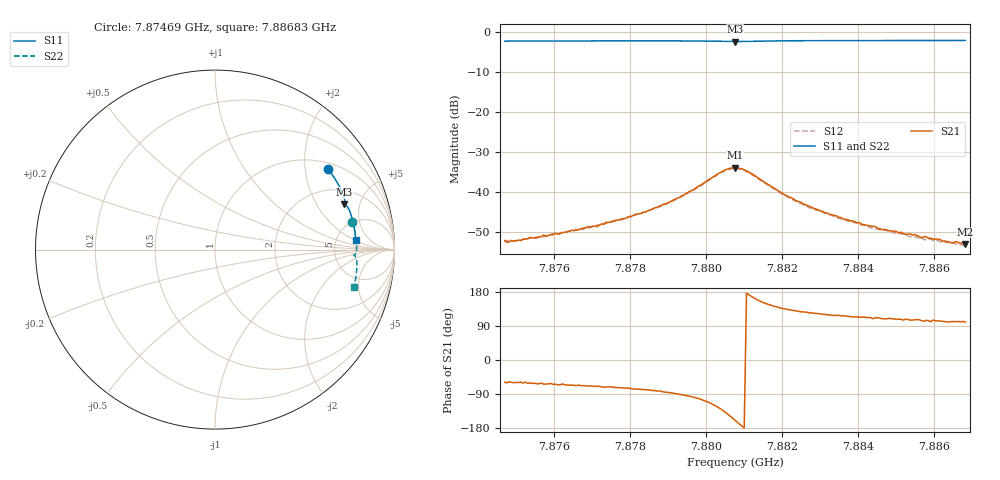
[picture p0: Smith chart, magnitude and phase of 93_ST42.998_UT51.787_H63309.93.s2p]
#  HZ  S  DB  R  50.00
! Rohde & Schwarz Vector Network Analyzer
! Rohde-Schwarz,ZNB20-2Port,1311601062101988,3.16
! Created: UTC 1/12/2023, 6:36:07 PM
! freq[Hz]  db:S11  ang:S11  db:S21  ang:S21  db:S12  ang:S12  db:S22  ang:S22
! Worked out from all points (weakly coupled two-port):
!   201 points, 7.87469 GHz to 7.88683 GHz, reference 50 ohm
!   highest |S21| = -34.00 dB at 7.88076 GHz (marker M1); lowest = -53.1 dB at 7.88683 GHz (marker M2)
!   lowest |S11| = -2.3 dB at 7.88076 GHz (marker M3), VSWR 7.45, Z = 147 + j178 ohm
!   |S11| at or under -10 dB: nowhere
!   |S22| runs from -2.2 to -1.9 dB; largest |S21 - S12| = 0.0014
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7.874695e9  -2.24 35.4  -52.21 -58.7  -52.64 -61.8  -2.15 11.3
7.874756e9  -2.23 35.2  -52.67 -60.1  -52.15 -61.1  -2.16 11.2
7.875119e9  -2.23 34.2  -52.19 -58.1  -52.25 -66.5  -2.14 10.3
7.875362e9  -2.22 33.5  -51.61 -60.5  -51.42 -64.7  -2.13 9.7
7.875544e9  -2.22 33.1  -51.42 -62.7  -51.59 -64.6  -2.13 9.3
7.876757e9  -2.20 29.7  -49.15 -67.9  -49.45 -70.9  -2.09 6.5
7.876818e9  -2.20 29.6  -49.18 -67.8  -48.88 -71.4  -2.10 6.3
7.876939e9  -2.20 29.2  -48.84 -68.4  -49.05 -73.6  -2.09 6.0
7.877849e9  -2.19 26.8  -46.73 -74.1  -46.74 -77.8  -2.06 3.9
7.878759e9  -2.18 24.2  -43.66 -81.5  -43.82 -85.9  -2.06 1.8
7.879305e9  -2.19 22.6  -41.39 -90.4  -41.41 -93.9  -2.06 0.4
7.880457e9  -2.31 19.6  -34.74 -134.4  -34.93 -137.8  -2.19 -2.2
7.88076e9  -2.35 19.4  -34.00 -159.0  -34.17 -162.5  -2.22 -2.3
7.881124e9  -2.29 19.0  -35.02 172.1  -35.23 168.7  -2.17 -2.5
7.882155e9  -2.16 16.3  -41.17 133.0  -41.40 129.7  -2.02 -4.7
7.882822e9  -2.13 14.4  -44.11 123.7  -44.29 120.1  -1.99 -6.3
7.883611e9  -2.12 12.3  -46.79 116.9  -47.01 113.1  -1.96 -8.1
7.884824e9  -2.10 9.1  -49.79 109.9  -49.95 105.9  -1.94 -10.8
7.885491e9  -2.09 7.3  -50.72 106.5  -51.32 102.8  -1.93 -12.3
7.885673e9  -2.09 6.8  -51.61 103.6  -51.46 103.2  -1.93 -12.7
7.885734e9  -2.09 6.7  -51.23 102.1  -52.04 100.0  -1.93 -12.9
7.886826e9  -2.08 3.8  -53.11 100.3  -53.64 96.0  -1.92 -15.2
